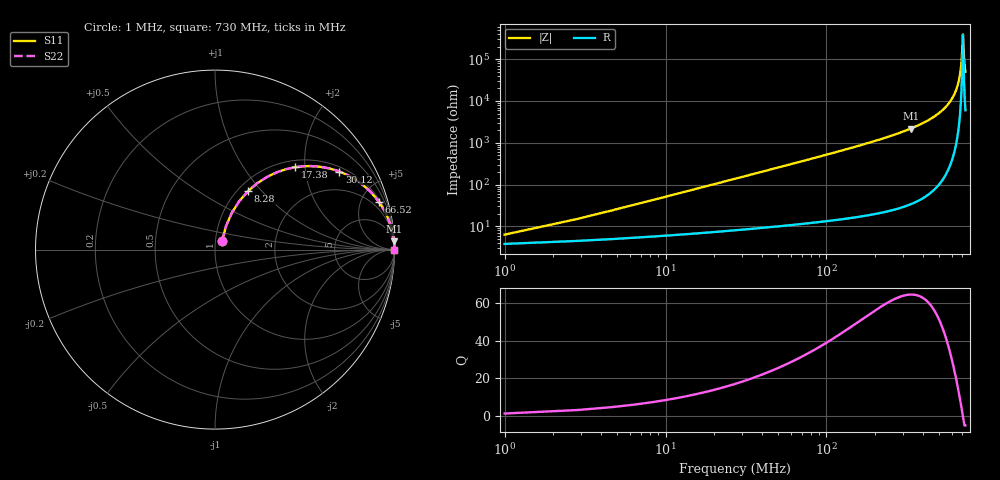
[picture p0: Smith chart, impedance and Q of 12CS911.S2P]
! Coilcraft 1206CS-911 Chip Inductor
! 29 July 2002
# MHZ S MA R 50
!Freq  MagS11  AngS11  MagS21  AngS21  MagS12  AngS12  MagS22  AngS22
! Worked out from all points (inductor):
!   402 points, 1 MHz to 730 MHz, reference 50 ohm
!   read as one part in series: L = 810 nH near 4.64 MHz
!   highest Q = 64.6 at 334.1 MHz (marker M1), where L = 1.04 uH
!   self-resonance near 703.5 MHz
!   S11 on the Smith chart (normalised r, x): 1 MHz: 1.08, +0.10; 8.28 MHz: 1.11, +0.84; 17.38 MHz: 1.14, +1.77; 30.12 MHz: 1.17, +3.07; 66.52 MHz: 1.22, +6.83; 730 MHz: open
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1  0.06117 50.4  0.9621 -2.8  0.9621 -2.8  0.06117 50.4
6.46  0.3018 63.4  0.906 -17.3  0.906 -17.3  0.3018 63.4
8.28  0.3737 60.6  0.8787 -21.7  0.8787 -21.7  0.3737 60.6
11.92  0.4985 54.4  0.817 -29.7  0.817 -29.7  0.4985 54.4
17.38  0.6393 45.9  0.7201 -39.6  0.7201 -39.6  0.6393 45.9
30.12  0.8183 32.1  0.532 -54.8  0.532 -54.8  0.8183 32.1
44.68  0.9023 23.2  0.3949 -64.4  0.3949 -64.4  0.9023 23.2
66.52  0.9514 16.2  0.2784 -72.0  0.2784 -72.0  0.9514 16.2
122.94  0.9848 8.8  0.1526 -79.9  0.1526 -79.9  0.9848 8.8
244.88  0.9964 4.0  0.07028 -85.0  0.07028 -85.0  0.9964 4.0
334.06  0.9983 2.6  0.04551 -86.5  0.04551 -86.5  0.9983 2.6
366.82  0.9986 2.2  0.03899 -86.9  0.03899 -86.9  0.9986 2.2
488.76  0.9994 1.2  0.02084 -87.7  0.02084 -87.7  0.9994 1.2
608.88  0.9997 0.5  0.008169 -87.5  0.008169 -87.5  0.9997 0.5
647.1  0.9997 0.3  0.004754 -86.5  0.004754 -86.5  0.9997 0.3
674.4  0.9997 0.1  0.002451 -83.8  0.002451 -83.8  0.9997 0.1
690.78  0.9997 0.1  0.001127 -77.0  0.001127 -77.0  0.9997 0.1
703.52  0.9998 0.0  0.0002601 -17.8  0.0002601 -17.8  0.9998 0.0
707.16  0.9998 -0.0  0.0003227 40.2  0.0003227 40.2  0.9998 -0.0
712.62  0.9998 -0.0  0.0006825 69.0  0.0006825 69.0  0.9998 -0.0
718.08  0.9998 -0.1  0.00109 77.1  0.00109 77.1  0.9998 -0.1
730  0.9998 -0.1  0.001996 83.0  0.001996 83.0  0.9998 -0.1
